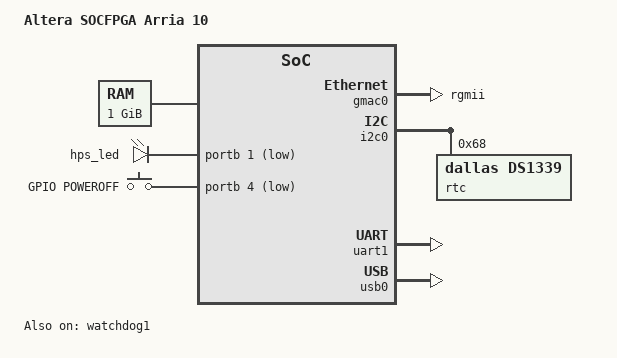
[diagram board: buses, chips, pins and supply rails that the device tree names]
/*
 * Copyright (C) 2015 Altera Corporation <www.altera.com>
 *
 * This program is free software; you can redistribute it and/or modify
 * it under the terms of the GNU General Public License as published by
 * the Free Software Foundation; either version 2 of the License, or
 * (at your option) any later version.
 *
 * This program is distributed in the hope that it will be useful,
 * but WITHOUT ANY WARRANTY; without even the implied warranty of
 * MERCHANTABILITY or FITNESS FOR A PARTICULAR PURPOSE.  See the
 * GNU General Public License for more details.
 *
 * You should have received a copy of the GNU General Public License
 * along with this program.  If not, see <http://www.gnu.org/licenses/>.
 */

#include <dt-bindings/gpio/gpio.h>
#include "socfpga_arria10.dtsi"

/ {
	model = "Altera SOCFPGA Arria 10";
	compatible = "altr,socfpga-arria10", "altr,socfpga";

	aliases {
		ethernet0 = &gmac0;
		serial0 = &uart1;
	};

	chosen {
		bootargs = "earlyprintk";
		stdout-path = "serial0:115200n8";
	};

	memory@0 {
		name = "memory";
		device_type = "memory";
		reg = <0x0 0x40000000>; /* 1GB */
	};
  
  gpio-leds {
    compatible = "gpio-leds";
    
    led0 {
        label = "hps_led";
        gpios = <&portb 1 GPIO_ACTIVE_LOW>;
        default-state = "off";
        linux,default-trigger = "heartbeat";
    };
  };

  gpio-keys {
    compatible = "gpio-keys";

    poweroff {
        label = "GPIO POWEROFF";
        linux,code = <116>;
        gpios = <&portb 4 GPIO_ACTIVE_LOW>;
    };
  };
    
	soc {
		clkmgr@ffd04000 {
			clocks {
				osc1 {
					clock-frequency = <25000000>;
				};
			};
		};
  };
};

&gmac0 {
	phy-mode = "rgmii";
	phy-addr = <0xffffffff>; /* probe for phy addr */

	/*
	 * These skews assume the user's FPGA design is adding 600ps of delay
	 * for TX_CLK on Arria 10.
	 *
	 * All skews are offset since hardware skew values for the ksz9031
	 * range from a negative skew to a positive skew.
	 * See the micrel-ksz90x1.txt Documentation file for details.
	 */
	txd0-skew-ps = <0>; /* -420ps */
	txd1-skew-ps = <0>; /* -420ps */
	txd2-skew-ps = <0>; /* -420ps */
	txd3-skew-ps = <0>; /* -420ps */
	rxd0-skew-ps = <420>; /* 0ps */
	rxd1-skew-ps = <420>; /* 0ps */
	rxd2-skew-ps = <420>; /* 0ps */
	rxd3-skew-ps = <420>; /* 0ps */
	txen-skew-ps = <0>; /* -420ps */
	txc-skew-ps = <1860>; /* 960ps */
	rxdv-skew-ps = <420>; /* 0ps */
	rxc-skew-ps = <1680>; /* 780ps */
	max-frame-size = <3800>;
	status = "okay";
};

&i2c0 {
	status = "okay";

	rtc@68 {
		compatible = "dallas,ds1339";
		reg = <0x68>;
	};
};

&uart1 {
	status = "okay";
};

&usb0 {
	status = "okay";
};

&watchdog1 {
	status = "okay";
};

&gpio1 {
  status = "okay";
};

&gpio2 {
  status = "okay";
};
